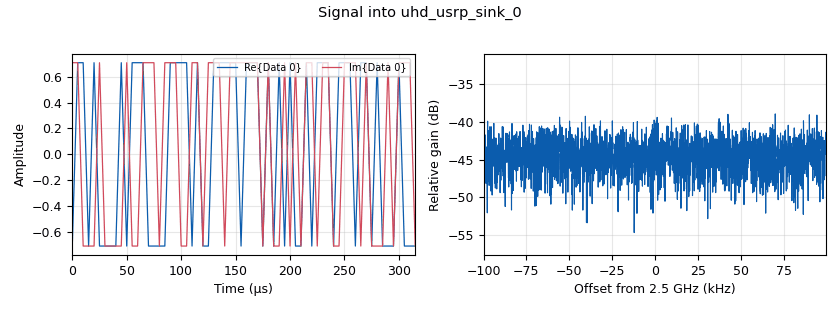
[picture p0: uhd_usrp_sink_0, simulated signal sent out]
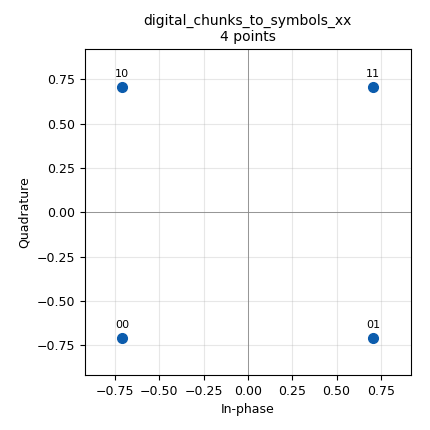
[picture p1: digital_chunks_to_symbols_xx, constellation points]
<?xml version='1.0' encoding='utf-8'?>
<?grc format='1' created='3.7.9'?>
<flow_graph>
<block>
<key>options</key>
<param><key>id</key><value>ber_simulation</value></param>
<param><key>author</key><value>Example</value></param>
<param><key>category</key><value>Custom</value></param>
<param><key>description</key><value>Adjust the noise and constellation... see what happens!</value></param>
<param><key>generate_options</key><value>qt_gui</value></param>
<param><key>title</key><value>BER Simulation</value></param>
</block>
<block>
<key>variable_qtgui_range</key>
<param><key>id</key><value>EbN0</value></param>
<param><key>value</key><value>100</value></param>
<param><key>label</key><value>Eb / N0 (dB)</value></param>
<param><key>orient</key><value>Qt.Horizontal</value></param>
<param><key>start</key><value>-10</value></param>
<param><key>step</key><value>1</value></param>
<param><key>stop</key><value>200</value></param>
</block>
<block>
<key>variable</key>
<param><key>id</key><value>const</value></param>
<param><key>value</key><value>(digital.constellation_bpsk(), digital.constellation_qpsk(), digital.constellation_8psk())</value></param>
</block>
<block>
<key>variable</key>
<param><key>id</key><value>const_type</value></param>
<param><key>value</key><value>1</value></param>
</block>
<block>
<key>variable</key>
<param><key>id</key><value>eb</value></param>
<param><key>value</key><value>0.35</value></param>
</block>
<block>
<key>variable</key>
<param><key>id</key><value>rrc_taps</value></param>
<param><key>value</key><value>firdes.root_raised_cosine(20, 10, 1.0/float(sps), eb, 45*sps)</value></param>
</block>
<block>
<key>variable</key>
<param><key>id</key><value>samp_rate</value></param>
<param><key>value</key><value>200e3</value></param>
</block>
<block>
<key>variable</key>
<param><key>id</key><value>sps</value></param>
<param><key>value</key><value>2</value></param>
</block>
<block>
<key>variable_qtgui_label</key>
<param><key>id</key><value>variable_qtgui_label_0</value></param>
<param><key>value</key><value>{0: 'BPSK', 1: 'QPSK', 2: '8-PSK'}[const_type] + " - Change const_type for different constellation types!"</value></param>
<param><key>label</key><value>Constellation Type</value></param>
<param><key>type</key><value>string</value></param>
</block>
<block>
<key>analog_noise_source_x</key>
<param><key>id</key><value>analog_noise_source_x</value></param>
<param><key>amp</key><value>1.0 / math.sqrt(const[const_type].bits_per_symbol() * 10**(EbN0/10))</value></param>
<param><key>_enabled</key><value>0</value></param>
<param><key>noise_type</key><value>analog.GR_GAUSSIAN</value></param>
<param><key>type</key><value>complex</value></param>
<param><key>seed</key><value>42</value></param>
</block>
<block>
<key>analog_random_source_x</key>
<param><key>id</key><value>analog_random_source_x</value></param>
<param><key>max</key><value>const[const_type].arity()</value></param>
<param><key>min</key><value>0</value></param>
<param><key>num_samps</key><value>int(1e7)</value></param>
<param><key>type</key><value>byte</value></param>
<param><key>repeat</key><value>True</value></param>
</block>
<block>
<key>blks2_error_rate</key>
<param><key>id</key><value>blks2_error_rate</value></param>
<param><key>bits_per_symbol</key><value>const[const_type].bits_per_symbol()</value></param>
<param><key>type</key><value>'BER'</value></param>
<param><key>win_size</key><value>int(1e7)</value></param>
</block>
<block>
<key>blocks_add_xx</key>
<param><key>id</key><value>blocks_add_xx</value></param>
<param><key>_enabled</key><value>0</value></param>
<param><key>type</key><value>complex</value></param>
</block>
<block>
<key>blocks_file_sink</key>
<param><key>id</key><value>blocks_file_sink_0</value></param>
<param><key>file</key><value>/home/unal/Desktop/USRP--UNAL/RADIO_oF/rx_ber_test.txt</value></param>
<param><key>type</key><value>byte</value></param>
</block>
<block>
<key>blocks_throttle</key>
<param><key>id</key><value>blocks_throttle</value></param>
<param><key>samples_per_second</key><value>samp_rate</value></param>
<param><key>type</key><value>byte</value></param>
</block>
<block>
<key>channels_cfo_model</key>
<param><key>id</key><value>channels_cfo_model_0</value></param>
<param><key>stdev</key><value>0.01</value></param>
<param><key>_enabled</key><value>0</value></param>
<param><key>maxdev</key><value>1e3</value></param>
<param><key>srate</key><value>samp_rate</value></param>
<param><key>seed</key><value>0</value></param>
</block>
<block>
<key>channels_sro_model</key>
<param><key>id</key><value>channels_sro_model_0</value></param>
<param><key>_enabled</key><value>0</value></param>
<param><key>maxdev</key><value>1e3</value></param>
<param><key>stdev</key><value>0.01</value></param>
<param><key>srate</key><value>samp_rate</value></param>
<param><key>seed</key><value>0</value></param>
</block>
<block>
<key>digital_chunks_to_symbols_xx</key>
<param><key>id</key><value>digital_chunks_to_symbols_xx</value></param>
<param><key>dimension</key><value>1</value></param>
<param><key>in_type</key><value>byte</value></param>
<param><key>out_type</key><value>complex</value></param>
<param><key>symbol_table</key><value>const[const_type].points()</value></param>
</block>
<block>
<key>digital_constellation_decoder_cb</key>
<param><key>id</key><value>digital_constellation_decoder_cb_0</value></param>
<param><key>constellation</key><value>const[const_type].base()</value></param>
</block>
<block>
<key>import</key>
<param><key>id</key><value>import</value></param>
<param><key>import</key><value>import math</value></param>
</block>
<block>
<key>qtgui_const_sink_x</key>
<param><key>id</key><value>qtgui_const_sink_x_0</value></param>
<param><key>_enabled</key><value>0</value></param>
<param><key>gui_hint</key><value>2,0,1,1</value></param>
<param><key>alpha1</key><value>0.6</value></param>
<param><key>label1</key><value>"Constellation: "+str(const[const_type].arity()) + "-PSK"</value></param>
<param><key>name</key><value>"foo"</value></param>
<param><key>size</key><value>1024</value></param>
<param><key>type</key><value>complex</value></param>
</block>
<block>
<key>qtgui_const_sink_x</key>
<param><key>id</key><value>qtgui_const_sink_x_0_0</value></param>
<param><key>label1</key><value>QPSK_mod</value></param>
<param><key>nconnections</key><value>2</value></param>
<param><key>size</key><value>100</value></param>
<param><key>type</key><value>complex</value></param>
</block>
<block>
<key>qtgui_number_sink</key>
<param><key>id</key><value>qtgui_number_sink_0</value></param>
<param><key>autoscale</key><value>True</value></param>
<param><key>gui_hint</key><value>1,0,1,1</value></param>
<param><key>graph_type</key><value>qtgui.NUM_GRAPH_HORIZ</value></param>
<param><key>type</key><value>float</value></param>
<param><key>factor1</key><value>1e6</value></param>
<param><key>label1</key><value>BER</value></param>
<param><key>unit1</key><value>x10^-6</value></param>
<param><key>min</key><value>0</value></param>
</block>
<block>
<key>uhd_usrp_sink</key>
<param><key>id</key><value>uhd_usrp_sink_0</value></param>
<param><key>ant0</key><value>TX/RX</value></param>
<param><key>center_freq0</key><value>2.5e9</value></param>
<param><key>norm_gain0</key><value>False</value></param>
<param><key>gain0</key><value>10</value></param>
<param><key>clock_rate</key><value>0.0</value></param>
<param><key>dev_args</key><value>""</value></param>
<param><key>type</key><value>fc32</value></param>
<param><key>samp_rate</key><value>samp_rate</value></param>
<param><key>hide_cmd_port</key><value>False</value></param>
<param><key>sync</key><value></value></param>
<param><key>len_tag_name</key><value></value></param>
</block>
<block>
<key>uhd_usrp_source</key>
<param><key>id</key><value>uhd_usrp_source_0</value></param>
<param><key>ant0</key><value>RX2</value></param>
<param><key>center_freq0</key><value>2.5e9</value></param>
<param><key>dc_offs_enb0</key><value>""</value></param>
<param><key>iq_imbal_enb0</key><value>""</value></param>
<param><key>norm_gain0</key><value>False</value></param>
<param><key>gain0</key><value>0</value></param>
<param><key>clock_rate</key><value>0.0</value></param>
<param><key>dev_args</key><value>""</value></param>
<param><key>type</key><value>fc32</value></param>
<param><key>samp_rate</key><value>samp_rate</value></param>
<param><key>hide_cmd_port</key><value>False</value></param>
<param><key>sync</key><value></value></param>
</block>
<block>
<key>virtual_sink</key>
<param><key>id</key><value>virtual_sink_0</value></param>
<param><key>stream_id</key><value>rx</value></param>
</block>
<block>
<key>virtual_sink</key>
<param><key>id</key><value>virtual_sink_0_0</value></param>
<param><key>stream_id</key><value>tx</value></param>
</block>
<block>
<key>virtual_source</key>
<param><key>id</key><value>virtual_source_0</value></param>
<param><key>stream_id</key><value>tx</value></param>
</block>
<block>
<key>virtual_source</key>
<param><key>id</key><value>virtual_source_0_0</value></param>
<param><key>stream_id</key><value>rx</value></param>
</block>
<connection><source_block_id>analog_noise_source_x</source_block_id><sink_block_id>blocks_add_xx</sink_block_id><source_key>0</source_key><sink_key>1</sink_key></connection>
<connection><source_block_id>analog_random_source_x</source_block_id><sink_block_id>blocks_throttle</sink_block_id><source_key>0</source_key><sink_key>0</sink_key></connection>
<connection><source_block_id>analog_random_source_x</source_block_id><sink_block_id>digital_chunks_to_symbols_xx</sink_block_id><source_key>0</source_key><sink_key>0</sink_key></connection>
<connection><source_block_id>blks2_error_rate</source_block_id><sink_block_id>qtgui_number_sink_0</sink_block_id><source_key>0</source_key><sink_key>0</sink_key></connection>
<connection><source_block_id>blocks_add_xx</source_block_id><sink_block_id>virtual_sink_0_0</sink_block_id><source_key>0</source_key><sink_key>0</sink_key></connection>
<connection><source_block_id>blocks_throttle</source_block_id><sink_block_id>blks2_error_rate</sink_block_id><source_key>0</source_key><sink_key>0</sink_key></connection>
<connection><source_block_id>digital_chunks_to_symbols_xx</source_block_id><sink_block_id>blocks_add_xx</sink_block_id><source_key>0</source_key><sink_key>0</sink_key></connection>
<connection><source_block_id>digital_chunks_to_symbols_xx</source_block_id><sink_block_id>virtual_sink_0_0</sink_block_id><source_key>0</source_key><sink_key>0</sink_key></connection>
<connection><source_block_id>digital_constellation_decoder_cb_0</source_block_id><sink_block_id>blks2_error_rate</sink_block_id><source_key>0</source_key><sink_key>1</sink_key></connection>
<connection><source_block_id>digital_constellation_decoder_cb_0</source_block_id><sink_block_id>blocks_file_sink_0</sink_block_id><source_key>0</source_key><sink_key>0</sink_key></connection>
<connection><source_block_id>uhd_usrp_source_0</source_block_id><sink_block_id>virtual_sink_0</sink_block_id><source_key>0</source_key><sink_key>0</sink_key></connection>
<connection><source_block_id>virtual_source_0</source_block_id><sink_block_id>qtgui_const_sink_x_0_0</sink_block_id><source_key>0</source_key><sink_key>1</sink_key></connection>
<connection><source_block_id>virtual_source_0</source_block_id><sink_block_id>uhd_usrp_sink_0</sink_block_id><source_key>0</source_key><sink_key>0</sink_key></connection>
<connection><source_block_id>virtual_source_0_0</source_block_id><sink_block_id>digital_constellation_decoder_cb_0</sink_block_id><source_key>0</source_key><sink_key>0</sink_key></connection>
<connection><source_block_id>virtual_source_0_0</source_block_id><sink_block_id>qtgui_const_sink_x_0</sink_block_id><source_key>0</source_key><sink_key>0</sink_key></connection>
<connection><source_block_id>virtual_source_0_0</source_block_id><sink_block_id>qtgui_const_sink_x_0_0</sink_block_id><source_key>0</source_key><sink_key>0</sink_key></connection>
</flow_graph>
